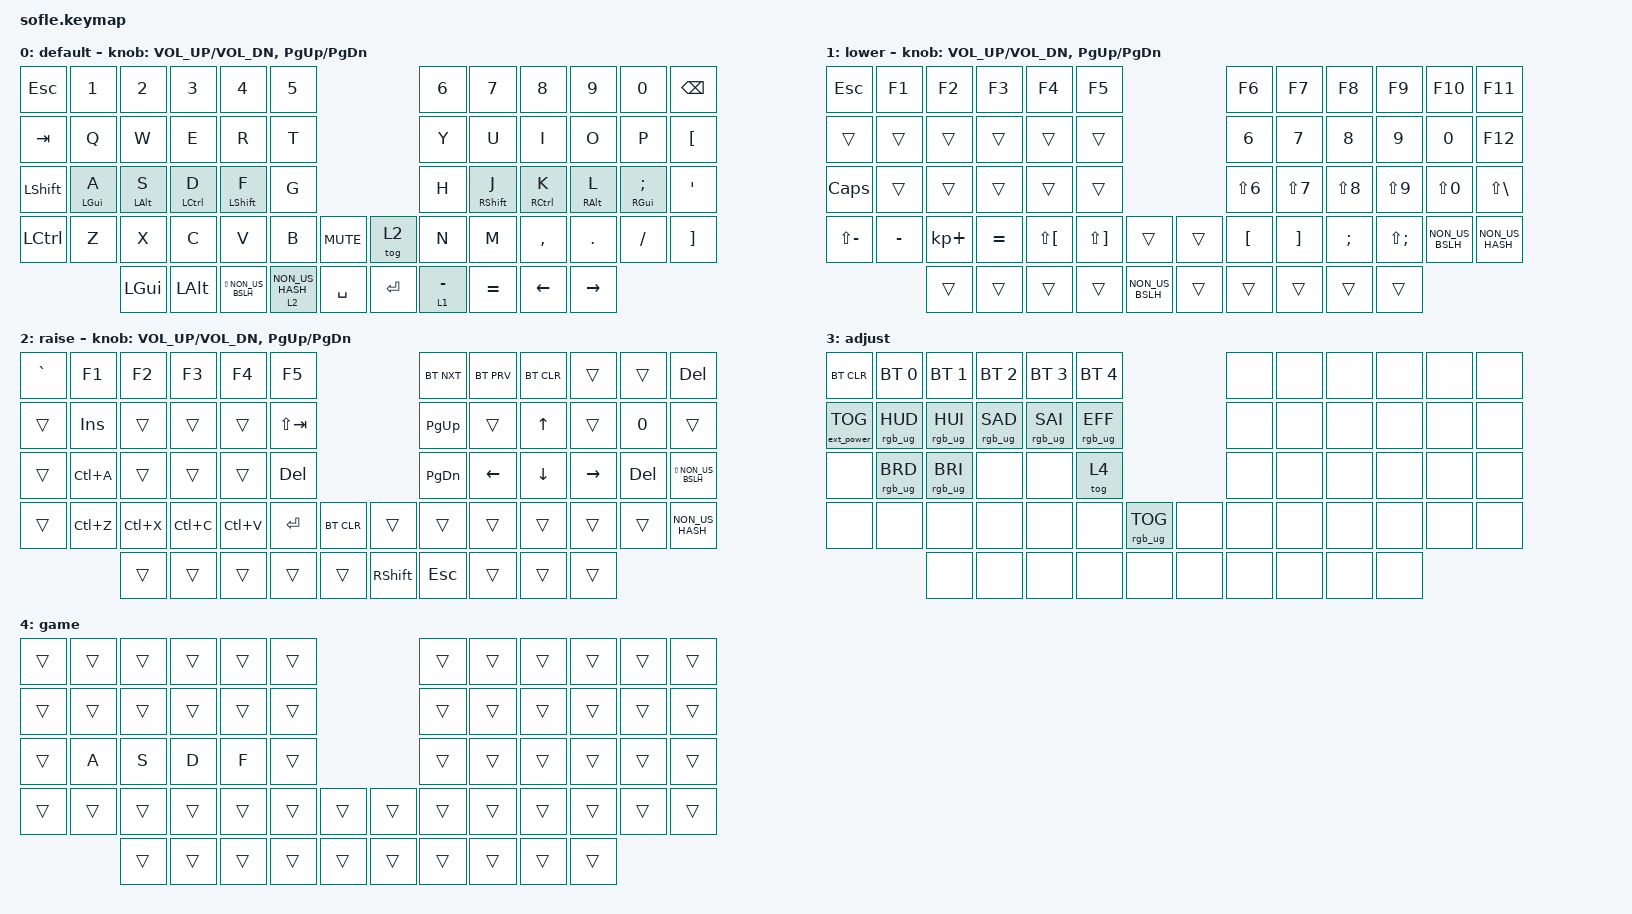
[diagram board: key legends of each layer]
/*
 * Sofle keymap - dumped from the live board via ZMK Studio, 2026-11-07.
 * Symbols assume a UK OS layout (NON_US_HASH / NON_US_BSLH).
 */

#include <behaviors.dtsi>
#include <dt-bindings/zmk/keys.h>
#include <dt-bindings/zmk/bt.h>
#include <dt-bindings/zmk/rgb.h>
#include <dt-bindings/zmk/ext_power.h>

/* Mechboards Sofle: the nice!view chip-select is wired to D4, not the
 * nice_view_adapter default (D1, which is the RGB data line here). */
&nice_view_spi {
    cs-gpios = <&pro_micro 4 GPIO_ACTIVE_HIGH>;
};

/* Home-row mods. Key positions: rows of 12, 12, 12, 14 (incl. encoders), 10 (thumbs). */
#define KEYS_L 0 1 2 3 4 5 12 13 14 15 16 17 24 25 26 27 28 29 36 37 38 39 40 41 42
#define KEYS_R 6 7 8 9 10 11 18 19 20 21 22 23 30 31 32 33 34 35 43 44 45 46 47 48 49
#define THUMBS 50 51 52 53 54 55 56 57 58 59

/ {
    behaviors {
        /* Hold = modifier only when the next key is on the other hand or a thumb;
         * fast typing (key within 150ms) always taps. Raise tapping-term-ms if
         * mods misfire, lower it if they feel slow. */
        hml: home_row_mod_left {
            compatible = "zmk,behavior-hold-tap";
            #binding-cells = <2>;
            flavor = "balanced";
            tapping-term-ms = <280>;
            quick-tap-ms = <175>;
            require-prior-idle-ms = <150>;
            bindings = <&kp>, <&kp>;
            hold-trigger-key-positions = <KEYS_R THUMBS>;
            hold-trigger-on-release;
        };
        hmr: home_row_mod_right {
            compatible = "zmk,behavior-hold-tap";
            #binding-cells = <2>;
            flavor = "balanced";
            tapping-term-ms = <280>;
            quick-tap-ms = <175>;
            require-prior-idle-ms = <150>;
            bindings = <&kp>, <&kp>;
            hold-trigger-key-positions = <KEYS_L THUMBS>;
            hold-trigger-on-release;
        };
    };

    combos {
        compatible = "zmk,combos";
        /* F + J together: Caps Word (next word in CAPS, ends at space/symbol) */
        caps_word_combo {
            timeout-ms = <50>;
            key-positions = <28 31>;
            bindings = <&caps_word>;
        };
    };

    conditional_layers {
        compatible = "zmk,conditional-layers";
        adjust_layer {
            if-layers = <1 2>;
            then-layer = <3>;
        };
    };

    keymap {
        compatible = "zmk,keymap";

        default_layer {
            display-name = "default";
            bindings = <
                &kp ESC            &kp N1           &kp N2           &kp N3           &kp N4               &kp N5                                           &kp N6       &kp N7      &kp N8      &kp N9        &kp N0           &kp BSPC
                &kp TAB            &kp Q            &kp W            &kp E            &kp R                &kp T                                            &kp Y        &kp U       &kp I       &kp O         &kp P            &kp LBKT
                &kp LSHFT          &hml LGUI A      &hml LALT S      &hml LCTRL D     &hml LSHFT F         &kp G                                            &kp H        &hmr RSHFT J &hmr RCTRL K &hmr RALT L &hmr RGUI SEMI      &kp SQT
                &kp LCTRL          &kp Z            &kp X            &kp C            &kp V                &kp B              &kp C_MUTE         &tog 2     &kp N        &kp M       &kp COMMA   &kp DOT       &kp FSLH         &kp RBKT
                                                    &kp LGUI         &kp LALT         &kp LS(NON_US_BSLH)  &lt 2 NON_US_HASH  &kp SPACE          &kp RET    &lt 1 MINUS  &kp EQUAL   &kp LEFT    &kp RIGHT
            >;
            sensor-bindings = <&inc_dec_kp C_VOL_UP C_VOL_DN &inc_dec_kp PG_UP PG_DN>;
        };

        lower_layer {
            display-name = "lower";
            bindings = <
                &kp ESC            &kp F1           &kp F2           &kp F3           &kp F4               &kp F5                                           &kp F6       &kp F7      &kp F8      &kp F9        &kp F10          &kp F11
                &trans             &trans           &trans           &trans           &trans               &trans                                           &kp N6       &kp N7      &kp N8      &kp N9        &kp N0           &kp F12
                &kp CAPS           &trans           &trans           &trans           &trans               &trans                                           &kp LS(N6)   &kp LS(N7)  &kp LS(N8)  &kp LS(N9)    &kp LS(N0)       &kp LS(BSLH)
                &kp LS(MINUS)      &kp MINUS        &kp KP_PLUS      &kp EQUAL        &kp LS(LBKT)         &kp LS(RBKT)       &trans             &trans     &kp LBKT     &kp RBKT    &kp SEMI    &kp LS(SEMI)  &kp NON_US_BSLH  &kp NON_US_HASH
                                                    &trans           &trans           &trans               &trans             &kp NON_US_BSLH    &trans     &trans       &trans      &trans      &trans
            >;
            sensor-bindings = <&inc_dec_kp C_VOL_UP C_VOL_DN &inc_dec_kp PG_UP PG_DN>;
        };

        raise_layer {
            display-name = "raise";
            bindings = <
                &kp GRAVE          &kp F1           &kp F2           &kp F3           &kp F4               &kp F5                                           &bt BT_NXT   &bt BT_PRV  &bt BT_CLR  &trans        &trans           &kp DEL
                &trans             &kp INS          &trans           &trans           &trans               &kp LS(TAB)                                      &kp PG_UP    &trans      &kp UP      &trans        &kp N0           &trans
                &trans             &kp LC(A)        &trans           &trans           &trans               &kp DEL                                          &kp PG_DN    &kp LEFT    &kp DOWN    &kp RIGHT     &kp DEL          &kp LS(NON_US_BSLH)
                &trans             &kp LC(Z)        &kp LC(X)        &kp LC(C)        &kp LC(V)            &kp RET            &bt BT_CLR         &trans     &trans       &trans      &trans      &trans        &trans           &kp NON_US_HASH
                                                    &trans           &trans           &trans               &trans             &trans             &kp RSHFT  &kp ESC      &trans      &trans      &trans
            >;
            sensor-bindings = <&inc_dec_kp C_VOL_UP C_VOL_DN &inc_dec_kp PG_UP PG_DN>;
        };

        adjust_layer {
            display-name = "adjust";
            bindings = <
                &bt BT_CLR         &bt BT_SEL 0     &bt BT_SEL 1     &bt BT_SEL 2     &bt BT_SEL 3         &bt BT_SEL 4                                     &none        &none       &none       &none         &none            &none
                &ext_power EP_TOG  &rgb_ug RGB_HUD  &rgb_ug RGB_HUI  &rgb_ug RGB_SAD  &rgb_ug RGB_SAI      &rgb_ug RGB_EFF                                  &none        &none       &none       &none         &none            &none
                &none              &rgb_ug RGB_BRD  &rgb_ug RGB_BRI  &none            &none                &tog 4                                           &none        &none       &none       &none         &none            &none
                &none              &none            &none            &none            &none                &none              &rgb_ug RGB_TOG    &none      &none        &none       &none       &none         &none            &none
                                                    &none            &none            &none                &none              &none              &none      &none        &none       &none       &none
            >;
        };

        game_layer {
            /* Toggle on adjust (G position). Plain A/S/D/F so held WASD keys never become mods. */
            display-name = "game";
            bindings = <
                &trans             &trans           &trans           &trans           &trans               &trans                                           &trans       &trans      &trans      &trans        &trans           &trans
                &trans             &trans           &trans           &trans           &trans               &trans                                           &trans       &trans      &trans      &trans        &trans           &trans
                &trans             &kp A            &kp S            &kp D            &kp F                &trans                                           &trans       &trans      &trans      &trans        &trans           &trans
                &trans             &trans           &trans           &trans           &trans               &trans             &trans             &trans     &trans       &trans      &trans      &trans        &trans           &trans
                                                    &trans           &trans           &trans               &trans             &trans             &trans     &trans       &trans      &trans      &trans
            >;
        };
    };
};
